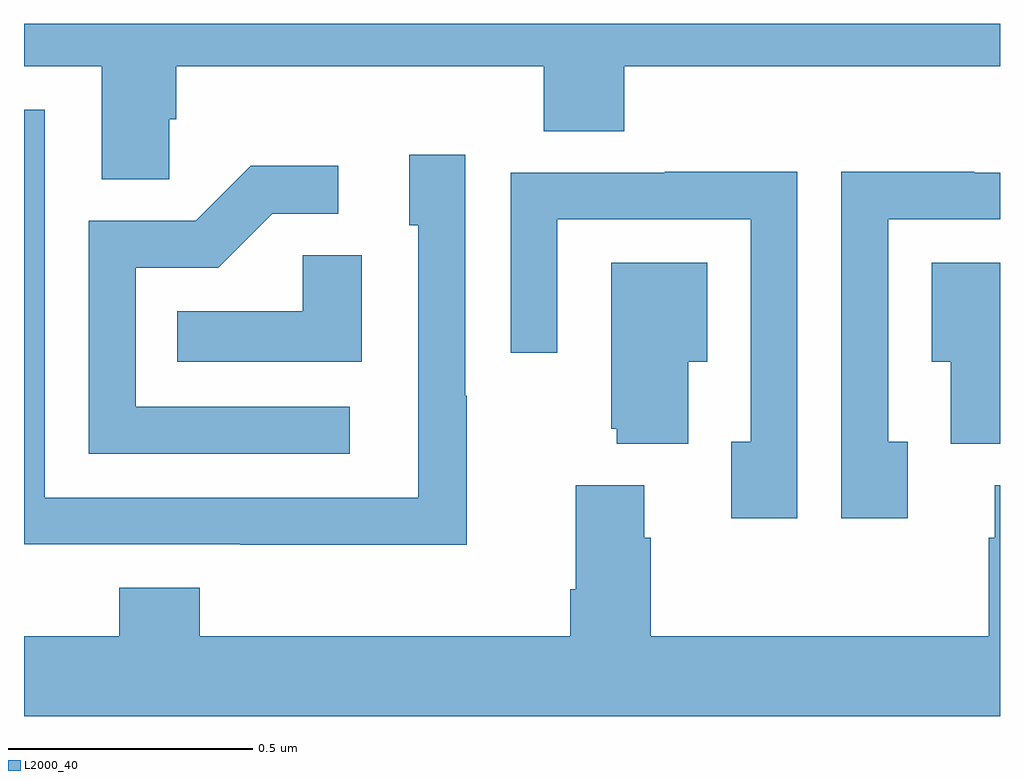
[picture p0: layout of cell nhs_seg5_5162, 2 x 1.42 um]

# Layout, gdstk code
import gdstk
lib = gdstk.Library(unit=1e-6, precision=1e-09)
def P(c, l, *ps):  # polygons
    for p in ps: c.add(gdstk.Polygon(p, *l))
L2000_40 = (2000, 40)

nhs_seg5_5162 = lib.new_cell('nhs_seg5_5162')
P(nhs_seg5_5162, L2000_40, [(179.298,904.603),(179.312,904.603),(179.312,904.712),(180.065,904.712),(180.065,904.579),(180.23,904.579),(180.23,904.712),(181,904.712),(181,904.799),(179,904.799),(179,904.712),(179.159,904.712),(179.159,904.48),(179.298,904.48)],
  [(179.907,904.037),(179.904,904.037),(179.904,904.531),(179.789,904.531),(179.789,904.386),(179.808,904.386),(179.808,903.828),(179.043,903.828),(179.043,904.623),(179,904.623),(179,903.732),(179.443,903.732),(179.443,903.731),(179.907,903.731)],
  [(179.668,904.014),(179.229,904.014),(179.229,904.299),(179.398,904.299),(179.509,904.41),(179.644,904.41),(179.644,904.508),(179.465,904.508),(179.352,904.395),(179.133,904.395),(179.133,903.918),(179.668,903.918)],
  [(180.585,904.496),(180.313,904.496),(180.313,904.494),(179.997,904.494),(179.997,904.125),(180.093,904.125),(180.093,904.398),(180.489,904.398),(180.489,903.942),(180.449,903.942),(180.449,903.786),(180.585,903.786)],
  [(180.811,903.942),(180.771,903.942),(180.771,904.398),(181,904.398),(181,904.494),(180.947,904.494),(180.947,904.496),(180.675,904.496),(180.675,903.786),(180.811,903.786)],
  [(179.692,904.325),(179.571,904.325),(179.571,904.21),(179.314,904.21),(179.314,904.106),(179.692,904.106)],
  [(181,904.309),(180.86,904.309),(180.86,904.106),(180.899,904.106),(180.899,903.938),(181,903.938)],
  [(180.361,904.106),(180.4,904.106),(180.4,904.309),(180.203,904.309),(180.203,903.969),(180.215,903.969),(180.215,903.938),(180.361,903.938)],
  [(181,903.853),(180.989,903.853),(180.989,903.746),(180.977,903.746),(180.977,903.544),(180.284,903.544),(180.284,903.746),(180.271,903.746),(180.271,903.853),(180.131,903.853),(180.131,903.64),(180.119,903.64),(180.119,903.544),(179.36,903.544),(179.36,903.643),(179.195,903.643),(179.195,903.544),(179,903.544),(179,903.38),(181,903.38)])

lib.write_gds('nhs_seg5_5162.gds')
